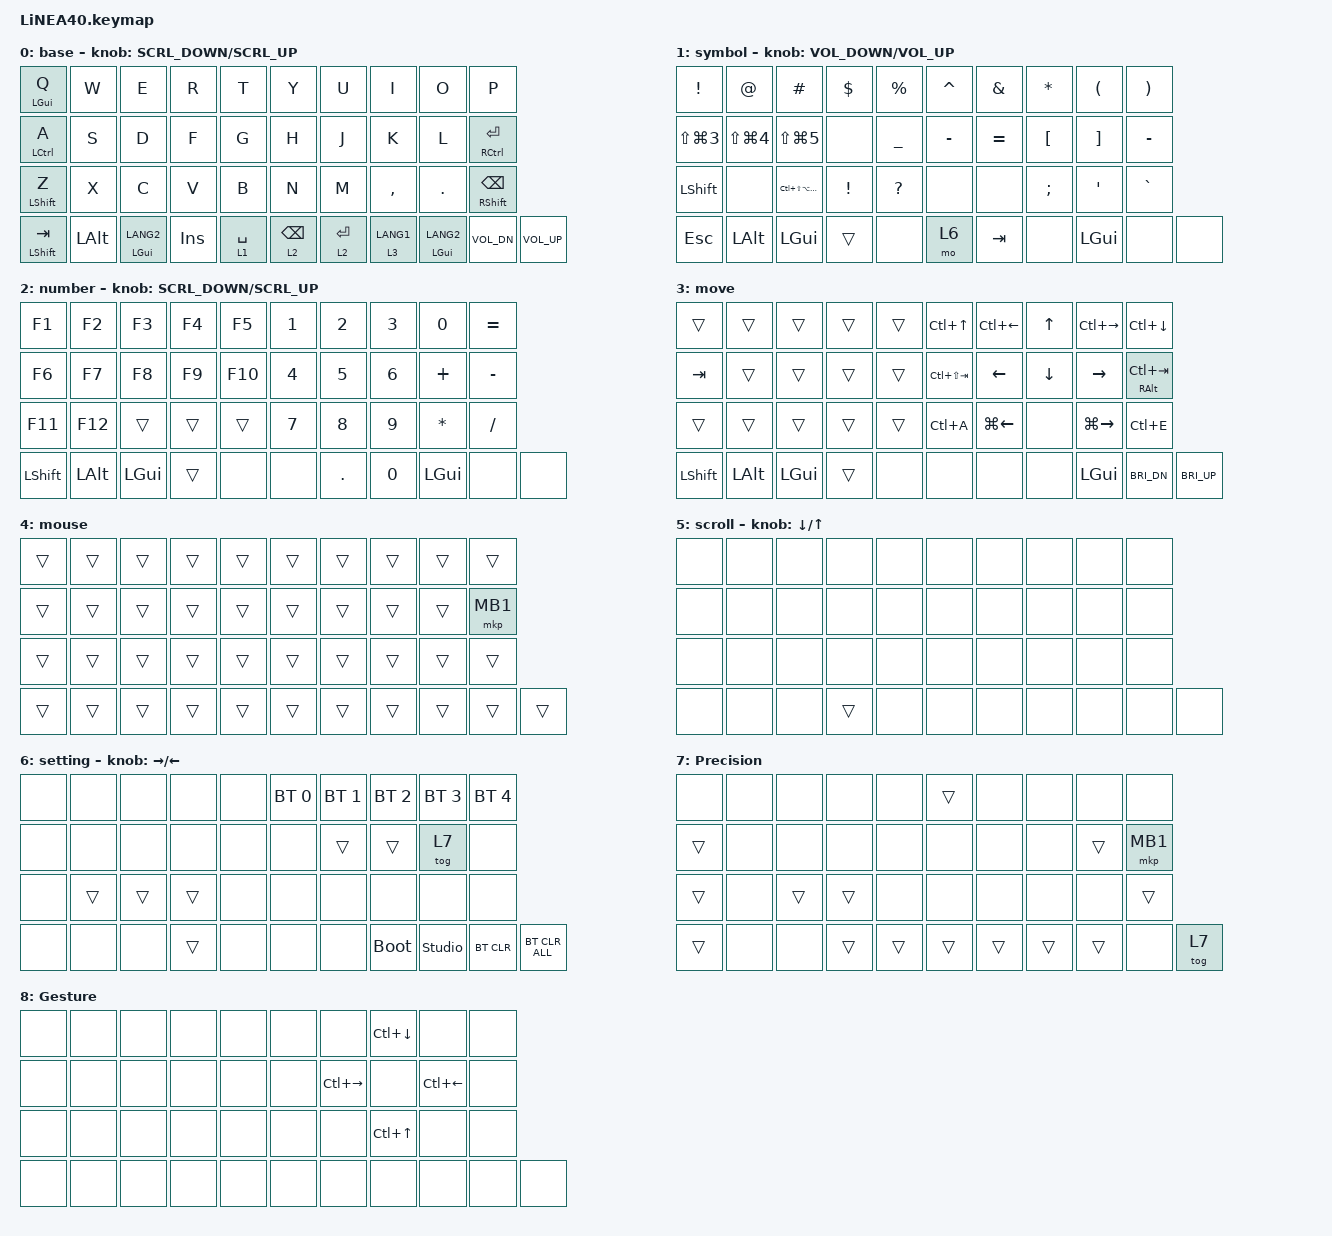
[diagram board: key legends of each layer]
#define ZMK_POINTING_DEFAULT_SCRL_VAL 150

#include <dt-bindings/zmk/input_transform.h>
#include <input/processors.dtsi>
#include <zephyr/dt-bindings/input/input-event-codes.h>
#include <behaviors.dtsi>
#include <dt-bindings/zmk/bt.h>
#include <dt-bindings/zmk/keys.h>
#include <dt-bindings/zmk/pointing.h>

#define MOUSE 4
#define MARK 1
#define CURSOR 3
#define FUNCTION 2
#define SCROLL 5
#define WIRELESS 6
#define GESTURE 8

// 長押しで別の動作になるキーの判定（2026-10-11 の Conductor の設定に合わせる: バランス / 200ms）
// quick-tap: タップしてすぐもう一度押して押し続けると、タップ側のキーが連続入力になる
&mt { flavor = "balanced"; tapping-term-ms = <200>; quick-tap-ms = <250>; };
&lt { flavor = "balanced"; tapping-term-ms = <200>; quick-tap-ms = <250>; };
// 長押しの判定は、LiNEA40 Studio からすぐ変えられる LiNEA40 用の hold-tap（src/linea_hold_tap.c。動きは ZMK と同じ）を使う。上の値は変えていないときの値
&mt { compatible = "linea,behavior-hold-tap"; };
&lt { compatible = "linea,behavior-hold-tap"; };

//mouse cursol

&mmv {
    delay-ms = <20>;
    trigger-period-ms = <5>;
    time-to-max-speed-ms = <100>;
    acceleration-exponent = <2>;
};

//mouse scroll

&msc {
    delay-ms = <3>;
    trigger-period-ms = <3>;
    time-to-max-speed-ms = <100>;
    acceleration-exponent = <0>;
};

/ {
    input_processors {
        // カーソルの加速（Conductor と同じく CPI 600 を基準に 1.3〜1.6倍）
        linea_accel_cursor: linea_accel_cursor {
            compatible = "linea,input-processor-accel";
            #input-processor-cells = <0>;
            min-factor-milli = <1300>;
            max-factor-milli = <1600>;
            speed-low = <4>;
            speed-high = <19>;
            // LiNEA40 Studio から変えた「カーソルの速さ」を掛ける（ビルドせずにすぐ反映。linea_settings）
            settings-slot = <1>;
            // 精密モード: Precision レイヤー（7）がいちばん上のときは 1/2（Conductor と同じ）。LiNEA40 Studio から変えられる
            precision-layer = <7>;
            precision-divisor = <2>;
        };

        // トラボでのスクロールの細かさ: ゆっくり転がしたときだけ細かく（2倍）、速く弾いたときは等倍。
        // 1/20 だとゆっくり転がしたときにホイールの信号がまばらになり、カクカク詰まって感じるため（Conductor 比較で確認）
        linea_accel_scroll: linea_accel_scroll {
            compatible = "linea,input-processor-accel";
            #input-processor-cells = <0>;
            min-factor-milli = <800>;
            max-factor-milli = <1600>;
            speed-low = <2>;
            speed-high = <14>;
            // LiNEA40 Studio から加速のオン/オフと値を変えられる（今は既定でオフ）
            settings-slot = <3>;
            enable-default = <0>;
        };

        // オートマウス（ZMK の zip_temp_layer と同じ動き。LiNEA40 Studio から値をすぐ変えられる）:
        // ボールを動かすと mouse レイヤー。ほかのキーを押すか、60秒操作が無いと抜ける。
        // 直前のキー入力から 50ms 以内の動きでは有効にしない。19番（左クリック）を押しても抜けない
        linea_aml: linea_aml {
            compatible = "linea,input-processor-aml";
            #input-processor-cells = <0>;
            layer = <MOUSE>;
            timeout-ms = <60000>;
            require-prior-idle-ms = <50>;
            excluded-positions = <19>;
        };

        // トラボのスクロールの速さ。LiNEA40 Studio から変えた倍率を掛ける（ビルドせずにすぐ反映。設定が無ければ 1倍）
        linea_scroll_speed: linea_scroll_speed {
            compatible = "linea,input-processor-accel";
            #input-processor-cells = <0>;
            settings-slot = <2>;
        };

        // トラボのスクロールを、エンコーダーと同じ「1回 ±1 段」の信号にそろえる（Mac Mouse Fix がエンコーダーと同じ自然な減速をかけるように）
        linea_scroll_tick: linea_scroll_tick {
            compatible = "linea,input-processor-tick";
            #input-processor-cells = <0>;
            max-carry = <3>;
            enable-default = <1>;
            // 貯めた段を平均の間隔で送り出す処理（すき間を埋める）。詰まりの原因は斜めの向きの切り替えだったので、使わない
            pace-default = <0>;
            pace-buffer = <18>;
        };

        // Gesture: Gesture レイヤーでトラボを上下左右に転がすと、そのレイヤーの I / , / J / L に置いたキーを1回押す
        linea_gesture: linea_gesture {
            compatible = "linea,input-processor-gesture";
            #input-processor-cells = <0>;
            layer = <GESTURE>;
            // 転がす方向 → Gesture レイヤーのこの位置のキーを押す（Conductor と同じ）
            // 上=I ⌃↓（アプリのウインドウ） / 下=, ⌃↑（Mission Control） / 左=J ⌃→ / 右=L ⌃←
            up = <7>;
            down = <27>;
            left = <16>;
            right = <18>;
            threshold = <30>;
            idle-ms = <250>;
        };

        // DeX モード（プロファイル 3）のときだけ、スクロールの向きを逆にして量を変える（src/linea_dex_scroll.c）
        linea_dex_scroll: linea_dex_scroll {
            compatible = "linea,input-processor-dex-scroll";
            #input-processor-cells = <0>;
        };

        zip_wheel_scaler: zip_wheel_scaler {
            compatible = "zmk,input-processor-scaler";
            #input-processor-cells = <2>;
            type = <INPUT_EV_REL>;
            codes = <INPUT_REL_WHEEL>;
            track-remainders;
        };
    };
};

&msc_input_listener {
    input-processors = <&linea_dex_scroll>;

    speed_up {
        layers = <FUNCTION>;
        input-processors = <&zip_wheel_scaler 3 1>, <&linea_dex_scroll>; //スクロールを3倍速にする
    };
};

// オートマウスは linea_aml（上の input_processors の中）

&trackball_listener {
    input-processors = <&linea_accel_cursor>, <&linea_aml>;

    gesture {
        layers = <GESTURE>;
        input-processors = <&linea_gesture>;
    };

    scroller {
        layers = <SCROLL>;
        // ドライバーのスクロールはやめて、ここで動きをスクロールに変える（加速をかけるため）。
        // 方向はドライバーのスクロールと同じ（上下は反転、左右はそのまま）
        input-processors =
            <&zip_xy_transform INPUT_TRANSFORM_Y_INVERT>,
            <&linea_scroll_speed>,
            <&linea_accel_scroll>,
            <&zip_xy_to_scroll_mapper>,
            <&zip_scroll_scaler 1 10>,
            <&linea_scroll_tick>,
            <&linea_dex_scroll>;
        // 動いた量の 1/10 を段数にし、linea_scroll_tick で1回 ±1 段にそろえる（エンコーダーと同じ形）。
        // 1回に何段もまとめて送ると、Mac Mouse Fix の慣性が途切れたり急に止まったりした。ゆっくり2倍・15ms おき送信も不安定だった
    };
};

/ {
    // コンボは LiNEA40 Studio からすぐ書き換えられる LiNEA40 用の部品（src/linea_combo.c。見分け方は ZMK と同じ）で動かす。
    // ここに書いたコンボは、LiNEA40 Studio で変えていないときの値
    combos {
        compatible = "linea,combos";

        L5_0 {
            bindings = <&mo 5>;
            key-positions = <17 18>;
            timeout-ms = <50>;
        };

        Gesture {
            bindings = <&mo GESTURE>;
            key-positions = <7 8>;
            timeout-ms = <50>;
        };

        Boot_2 {
            bindings = <&bootloader>;
            key-positions = <8 24 4>;
            timeout-ms = <50>;
        };

        MB2_3 {
            bindings = <&mkp MB2>;
            key-positions = <18 19>;
            timeout-ms = <50>;
        };

        MB3_4 {
            bindings = <&mkp MB3>;
            key-positions = <27 28>;
            timeout-ms = <50>;
        };

        MB3_5 {
            bindings = <&mkp MB3>;
            key-positions = <17 19>;
            timeout-ms = <50>;
        };
    };

    behaviors {
        re_kp: sensor_rotate_kp {
            compatible = "zmk,behavior-sensor-rotate-var";
            #sensor-binding-cells = <2>;
            bindings = <&kp>, <&kp>;
        };

        mouse_scrl: mouse_wheel_scrl {
            compatible = "zmk,behavior-sensor-rotate-var";
            #sensor-binding-cells = <2>;
            bindings = <&msc>, <&msc>;

            tap-ms = <20>;
        };
    };

    keymap {
        compatible = "zmk,keymap";

        base_layer {
            display-name = "base";
            bindings = <
&mt LGUI Q           &kp W                &kp E                &kp R                &kp T                       &kp Y                &kp U                &kp I                &kp O                &kp P
&mt LCTRL A          &kp S                &kp D                &kp F                &kp G                       &kp H                &kp J                &kp K                &kp L                &mt RCTRL ENTER
&mt LSHIFT Z         &kp X                &kp C                &kp V                &kp B                       &kp N                &kp M                &kp COMMA            &kp DOT              &mt RSHIFT BSPC
&mt LSHIFT TAB       &kp LALT             &mt LGUI LANG2       &kp INS              &lt 1 SPACE          &lt 2 BSPC            &lt 2 ENTER          &lt 3 LANG1          &mt LGUI LANG2       &kp C_VOL_DN         &kp C_VOL_UP
            >;

            sensor-bindings = <&mouse_scrl SCRL_DOWN SCRL_UP>;
        };

        symbol_layer {
            display-name = "symbol";
            bindings = <
&kp EXCL             &kp AT               &kp HASH             &kp DLLR             &kp PRCNT                   &kp CARET            &kp AMPS             &kp STAR             &kp LPAR             &kp RPAR
&kp LS(LG(N3))       &kp LS(LG(N4))       &kp LS(LG(N5))       &none                &kp UNDER                   &kp MINUS            &kp EQUAL            &kp LBKT             &kp RBKT             &kp MINUS
&kp LSHIFT           &none                &kp LC(LS(LA(LG(M)))) &kp EXCL             &kp QMARK                   &none                &none                &kp SEMI             &kp SQT              &kp GRAVE
&kp ESC              &kp LALT             &kp LGUI             &trans               &none                &mo 6                &kp TAB              &none                &kp LGUI             &none                &none
            
            >;

            sensor-bindings = <&re_kp C_VOLUME_DOWN C_VOLUME_UP>;
        };

        number_layer {
            display-name = "number";
            bindings = <
&kp F1               &kp F2               &kp F3               &kp F4               &kp F5                      &kp N1               &kp N2               &kp N3               &kp N0               &kp EQUAL
&kp F6               &kp F7               &kp F8               &kp F9               &kp F10                     &kp N4               &kp N5               &kp N6               &kp PLUS             &kp MINUS
&kp F11              &kp F12              &trans               &trans               &trans                      &kp N7               &kp N8               &kp N9               &kp STAR             &kp FSLH
&kp LSHIFT           &kp LALT             &kp LGUI             &trans               &none                &none                &kp DOT              &kp N0               &kp LGUI             &none                &none
            
            >;

            sensor-bindings = <&mouse_scrl SCRL_DOWN SCRL_UP>;
        };

        move_layer {
            display-name = "move";
            bindings = <
&trans               &trans               &trans               &trans               &trans                      &kp LC(UP)           &kp LC(LEFT)         &kp UP               &kp LC(RIGHT)        &kp LC(DOWN)
&kp TAB              &trans               &trans               &trans               &trans                      &kp LC(LS(TAB))      &kp LEFT             &kp DOWN             &kp RIGHT            &mt RALT LC(TAB)
&trans               &trans               &trans               &trans               &trans                      &kp LC(A)            &kp LG(LEFT)         &none                &kp LG(RIGHT)        &kp LC(E)
&kp LSHIFT           &kp LALT             &kp LGUI             &trans               &none                &none                &none                &none                &kp LGUI             &kp C_BRI_DN         &kp C_BRI_UP
            
            >;
        };

        mouse_layer {
            display-name = "mouse";
            bindings = <
&trans               &trans               &trans               &trans               &trans                      &trans               &trans               &trans               &trans               &trans
&trans               &trans               &trans               &trans               &trans                      &trans               &trans               &trans               &trans               &mkp MB1
&trans               &trans               &trans               &trans               &trans                      &trans               &trans               &trans               &trans               &trans
&trans               &trans               &trans               &trans               &trans               &trans                &trans               &trans               &trans               &trans               &trans
            >;
        };

        scroll_layer {
            display-name = "scroll";
            bindings = <
&none                &none                &none                &none                &none                       &none                &none                &none                &none                &none
&none                &none                &none                &none                &none                       &none                &none                &none                &none                &none
&none                &none                &none                &none                &none                       &none                &none                &none                &none                &none
&none                &none                &none                &trans               &none                &none                 &none                &none                &none                &none                &none
            >;

            sensor-bindings = <&inc_dec_kp DOWN_ARROW UP_ARROW>;
        };

        setting_layer {
            display-name = "setting";
            bindings = <
&none                &none                &none                &none                &none                       &bt BT_SEL 0         &bt BT_SEL 1         &bt BT_SEL 2         &bt BT_SEL 3         &bt BT_SEL 4
&none                &none                &none                &none                &none                       &none                &trans               &trans               &tog 7               &none
&none                &trans               &trans               &trans               &none                       &none                &none                &none                &none                &none
&none                &none                &none                &trans               &none                &none                 &none                &bootloader          &studio_unlock       &bt BT_CLR           &bt BT_CLR_ALL
            >;

            sensor-bindings = <&inc_dec_kp RIGHT_ARROW LEFT_ARROW>;
        };

        Precision_layer {
            display-name = "Precision";
            bindings = <
&none                &none                &none                &none                &none                       &trans               &none                &none                &none                &none
&trans               &none                &none                &none                &none                       &none                &none                &none                &trans               &mkp MB1
&trans               &none                &trans               &trans               &none                       &none                &none                &none                &none                &trans
&trans               &none                &none                &trans               &trans               &trans                &trans               &trans               &trans               &none                &tog 7
            >;
        };
        Gesture_layer {
            display-name = "Gesture";
            bindings = <
&none                &none                &none                &none                &none                       &none                &none                &kp LC(DOWN)         &none                &none
&none                &none                &none                &none                &none                       &none                &kp LC(RIGHT)        &none                &kp LC(LEFT)         &none
&none                &none                &none                &none                &none                       &none                &none                &kp LC(UP)           &none                &none
&none                &none                &none                &none                &none                &none                 &none                &none                &none                &none                &none
            >;
        };
    };
};
